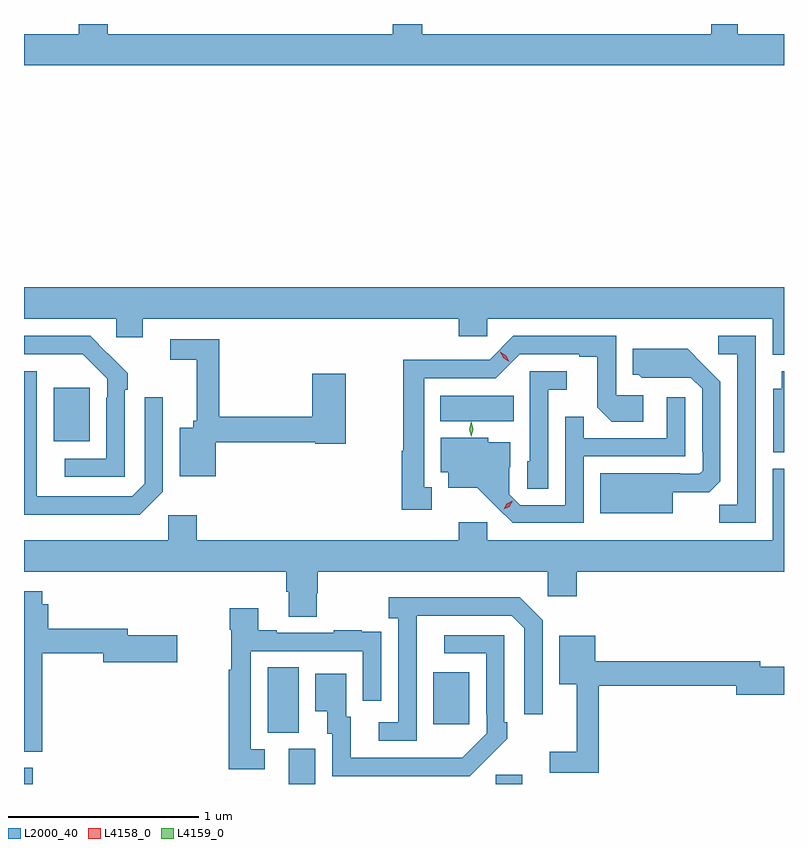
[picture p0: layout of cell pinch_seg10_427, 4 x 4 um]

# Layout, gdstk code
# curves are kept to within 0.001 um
import gdstk
lib = gdstk.Library(unit=1e-6, precision=1e-09)
def R(c, l, rs):  # rectangles x0, y0, x1, y1
    for r in rs: c.add(gdstk.rectangle(r[:2], r[2:], *l))
def P(c, l, *ps):  # polygons
    for p in ps: c.add(gdstk.Polygon(p, *l))
L2000_40 = (2000, 40)
L4158_0 = (4158, 0)
L4159_0 = (4159, 0)

pinch_seg10_427 = lib.new_cell('pinch_seg10_427')
R(pinch_seg10_427, L2000_40, [(346.744,1301.862,346.79,1301.948), (348.137,1301.862,348.277,1302.048), (349.227,1301.862,349.366,1301.91), (348.026,1302.133,348.19,1302.476), (348.899,1302.177,349.087,1302.451), (346.901,1303.667,347.089,1303.948), (348.935,1303.772,349.322,1303.906)])
P(pinch_seg10_427, L2000_40, [(350.744,1305.808),(350.5,1305.808),(350.5,1305.862),(350.36,1305.862),(350.36,1305.808),(348.839,1305.808),(348.839,1305.862),(348.686,1305.862),(348.686,1305.808),(347.184,1305.808),(347.184,1305.862),(347.033,1305.862),(347.033,1305.808),(346.744,1305.808),(346.744,1305.644),(350.744,1305.644)],
  [(350.744,1304.476),(346.744,1304.476),(346.744,1304.312),(347.229,1304.312),(347.229,1304.214),(347.368,1304.214),(347.368,1304.312),(349.031,1304.312),(349.031,1304.219),(349.182,1304.219),(349.182,1304.312),(350.684,1304.312),(350.684,1304.12),(350.744,1304.12)],
  [(348.889,1303.425),(348.85,1303.425),(348.85,1303.998),(349.227,1303.998),(349.353,1304.124),(349.667,1304.124),(349.667,1304.112),(349.761,1304.112),(349.761,1303.844),(349.837,1303.768),(350.002,1303.768),(350.002,1303.908),(349.86,1303.908),(349.86,1304.22),(349.32,1304.22),(349.194,1304.094),(348.972,1304.094),(348.972,1304.096),(348.739,1304.096),(348.739,1303.617),(348.732,1303.617),(348.732,1303.305),(348.889,1303.305)],
  [(347.274,1303.937),(347.289,1303.937),(347.289,1304.025),(347.092,1304.22),(346.744,1304.22),(346.744,1304.124),(347.053,1304.124),(347.181,1303.995),(347.181,1303.895),(347.178,1303.895),(347.178,1303.575),(346.959,1303.575),(346.959,1303.479),(347.274,1303.479)],
  [(350.595,1304.22),(350.397,1304.22),(350.397,1304.124),(350.499,1304.124),(350.499,1303.331),(350.404,1303.331),(350.404,1303.236),(350.595,1303.236)],
  [(347.752,1303.66),(348.276,1303.66),(348.276,1303.652),(348.438,1303.652),(348.438,1304.02),(348.26,1304.02),(348.26,1303.796),(347.771,1303.796),(347.771,1304.202),(347.514,1304.202),(347.514,1304.094),(347.654,1304.094),(347.654,1303.773),(347.636,1303.773),(347.636,1303.738),(347.564,1303.738),(347.564,1303.481),(347.752,1303.481)],
  [(350.158,1303.397),(350.35,1303.397),(350.409,1303.456),(350.409,1303.978),(350.237,1304.152),(349.949,1304.152),(349.949,1304.016),(349.98,1304.016),(349.996,1304),(350.253,1304.001),(350.313,1303.941),(350.313,1303.612),(350.316,1303.612),(350.316,1303.512),(350.298,1303.494),(350.198,1303.494),(350.198,1303.498),(349.778,1303.498),(349.778,1303.286),(350.158,1303.286)],
  [(350.744,1304.035),(350.732,1304.035),(350.732,1303.942),(350.687,1303.942),(350.687,1303.607),(350.744,1303.607)],
  [(347.475,1303.401),(347.475,1303.897),(347.379,1303.897),(347.379,1303.443),(347.313,1303.377),(346.812,1303.377),(346.812,1304.034),(346.744,1304.034),(346.744,1303.28),(347.354,1303.28)],
  [(349.503,1303.937),(349.6,1303.937),(349.6,1304.034),(349.407,1304.034),(349.407,1303.56),(349.392,1303.56),(349.392,1303.417),(349.503,1303.417)],
  [(349.689,1303.587),(350.223,1303.587),(350.223,1303.897),(350.127,1303.897),(350.127,1303.683),(349.691,1303.683),(349.691,1303.796),(349.593,1303.796),(349.593,1303.329),(349.356,1303.329),(349.299,1303.386),(349.299,1303.528),(349.303,1303.528),(349.303,1303.66),(349.188,1303.66),(349.188,1303.684),(348.938,1303.684),(348.938,1303.502),(348.977,1303.502),(348.977,1303.421),(349.129,1303.421),(349.316,1303.236),(349.689,1303.236)],
  [(348.285,1302.867),(348.29,1302.867),(348.29,1302.98),(349.5,1302.98),(349.5,1302.849),(349.652,1302.849),(349.652,1302.98),(350.744,1302.98),(350.744,1303.522),(350.684,1303.522),(350.684,1303.144),(349.182,1303.144),(349.182,1303.24),(349.031,1303.24),(349.031,1303.144),(347.654,1303.144),(347.654,1303.276),(347.502,1303.276),(347.502,1303.144),(346.744,1303.144),(346.744,1302.98),(348.125,1302.98),(348.125,1302.874),(348.137,1302.874),(348.137,1302.742),(348.285,1302.742)],
  [(346.841,1302.55),(347.162,1302.55),(347.162,1302.503),(347.551,1302.503),(347.551,1302.645),(347.29,1302.645),(347.29,1302.679),(346.871,1302.679),(346.871,1302.808),(346.841,1302.808),(346.841,1302.877),(346.744,1302.877),(346.744,1302.033),(346.841,1302.033)],
  [(348.81,1302.547),(348.811,1302.747),(349.311,1302.747),(349.377,1302.681),(349.377,1302.228),(349.473,1302.228),(349.473,1302.723),(349.352,1302.844),(348.663,1302.844),(348.663,1302.734),(348.714,1302.734),(348.714,1302.186),(348.612,1302.186),(348.612,1302.09),(348.81,1302.09)],
  [(348.01,1302.045),(347.937,1302.045),(347.937,1302.561),(348.528,1302.561),(348.528,1302.3),(348.624,1302.3),(348.624,1302.554),(348.623,1302.554),(348.623,1302.663),(348.521,1302.663),(348.521,1302.67),(348.373,1302.67),(348.373,1302.657),(348.073,1302.657),(348.073,1302.67),(347.977,1302.67),(347.977,1302.787),(347.828,1302.787),(347.828,1302.674),(347.836,1302.674),(347.836,1302.464),(347.821,1302.464),(347.821,1301.94),(348.01,1301.94)],
  [(349.181,1301.995),(349.182,1301.994),(349.287,1302.099),(349.287,1302.187),(349.272,1302.187),(349.272,1302.645),(348.957,1302.645),(348.957,1302.549),(349.176,1302.549),(349.176,1302.229),(349.179,1302.229),(349.179,1302.129),(349.051,1302.001),(348.463,1302),(348.463,1302.216),(348.439,1302.216),(348.439,1302.442),(348.278,1302.442),(348.278,1302.245),(348.341,1302.245),(348.341,1302.126),(348.366,1302.126),(348.366,1301.904),(349.09,1301.904)],
  [(349.769,1302.379),(350.492,1302.379),(350.492,1302.332),(350.744,1302.332),(350.744,1302.479),(350.62,1302.479),(350.62,1302.508),(349.75,1302.508),(349.75,1302.643),(349.562,1302.643),(349.562,1302.386),(349.652,1302.386),(349.652,1302.031),(349.512,1302.031),(349.512,1301.922),(349.769,1301.922)])
P(pinch_seg10_427, L4158_0, [(349.268,1303.307),(349.268,1303.307),(349.286,1303.337),(349.317,1303.352),(349.317,1303.352),(349.317,1303.352),(349.299,1303.322),(349.268,1303.307)],
  [(349.299,1304.084),(349.268,1304.103),(349.25,1304.135),(349.25,1304.136),(349.251,1304.136),(349.282,1304.117),(349.299,1304.084),(349.299,1304.084)])
P(pinch_seg10_427, L4159_0, [(349.097,1303.69),(349.097,1303.691),(349.088,1303.73),(349.098,1303.77),(349.098,1303.77),(349.098,1303.77),(349.108,1303.73),(349.097,1303.691)])

lib.write_gds('pinch_seg10_427.gds')
